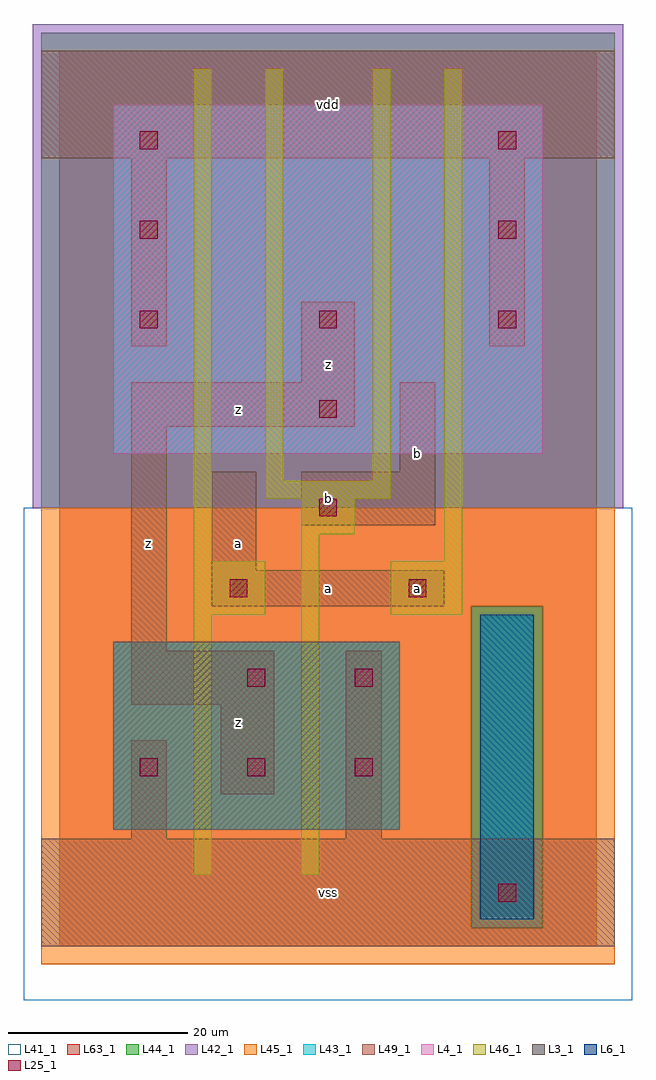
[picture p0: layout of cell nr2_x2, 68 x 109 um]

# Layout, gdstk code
import gdstk
lib = gdstk.Library(unit=1e-6, precision=1e-09)
def R(c, l, rs):  # rectangles x0, y0, x1, y1
    for r in rs: c.add(gdstk.rectangle(r[:2], r[2:], *l))
def A(c, l, x, y, w, h, nx, ny, dx, dy):  # array of equal rectangles
    R(c, l, [(x+i*dx, y+j*dy, x+i*dx+w, y+j*dy+h) for i in range(nx) for j in range(ny)])
L3_1 = (3, 1)
L4_1 = (4, 1)
L6_1 = (6, 1)
L25_1 = (25, 1)
L41_1 = (41, 1)
L42_1 = (42, 1)
L43_1 = (43, 1)
L44_1 = (44, 1)
L45_1 = (45, 1)
L46_1 = (46, 1)
L49_1 = (49, 1)
L63_1 = (63, 1)

nr2_x2 = lib.new_cell('nr2_x2')
R(nr2_x2, L3_1, [(6,13,38,34)])
R(nr2_x2, L4_1, [(6,55,54,94)])
R(nr2_x2, L6_1, [(47,3,53,37)])
A(nr2_x2, L25_1, 9, 19, 2, 2, 3, 1, 12, 0)
A(nr2_x2, L25_1, 9, 69, 2, 2, 3, 1, 20, 0)
R(nr2_x2, L25_1, [(49,5,51,7), (21,29,23,31), (33,29,35,31), (19,39,21,41), (39,39,41,41), (29,48,31,50), (29,59,31,61), (9,79,11,81), (49,79,51,81), (9,89,11,91), (49,89,51,91)])
R(nr2_x2, L41_1, [(-4,-6,64,49), (-3,-3,63,49)])
R(nr2_x2, L42_1, [(-3,49,63,103)])
R(nr2_x2, L43_1, [(47,3,53,37), (6,13,38,34), (6,55,54,94)])
R(nr2_x2, L44_1, [(46,2,54,38), (-2,49,62,102)])
R(nr2_x2, L45_1, [(-2,-2,62,2), (-2,2,46,38), (54,2,62,38), (-2,38,62,49)])
R(nr2_x2, L46_1, [(15,8,17,37), (27,8,29,46), (15,37,23,43), (37,37,45,43), (15,43,17,98), (43,43,45,98), (27,46,33,50), (23,50,37,52), (23,52,25,98), (35,52,37,98)])
R(nr2_x2, L49_1, [(-2,0,62,12), (8,12,12,23), (32,12,36,33), (18,17,24,27), (8,27,24,33), (8,33,12,58), (17,38,43,42), (17,42,22,53), (27,47,42,53), (38,53,42,63), (8,58,33,63), (27,63,33,72), (8,67,12,88), (48,67,52,88), (-2,88,62,100)])
R(nr2_x2, L63_1, [(0,0,60,100)])
nr2_x2.add(gdstk.Label('z', (10,45), layer=49, texttype=1))
nr2_x2.add(gdstk.Label('z', (10,45), layer=49, texttype=1))
nr2_x2.add(gdstk.Label('z', (20,25), layer=49, texttype=1))
nr2_x2.add(gdstk.Label('z', (20,25), layer=49, texttype=1))
nr2_x2.add(gdstk.Label('a', (20,45), layer=49, texttype=1))
nr2_x2.add(gdstk.Label('a', (20,45), layer=49, texttype=1))
nr2_x2.add(gdstk.Label('z', (20,60), layer=49, texttype=1))
nr2_x2.add(gdstk.Label('z', (20,60), layer=49, texttype=1))
nr2_x2.add(gdstk.Label('vss', (30,6), layer=49, texttype=1))
nr2_x2.add(gdstk.Label('vss', (30,6), layer=49, texttype=1))
nr2_x2.add(gdstk.Label('a', (30,40), layer=49, texttype=1))
nr2_x2.add(gdstk.Label('a', (30,40), layer=49, texttype=1))
nr2_x2.add(gdstk.Label('a', (40,40), layer=49, texttype=1))
nr2_x2.add(gdstk.Label('a', (40,40), layer=49, texttype=1))
nr2_x2.add(gdstk.Label('b', (30,50), layer=49, texttype=1))
nr2_x2.add(gdstk.Label('b', (30,50), layer=49, texttype=1))
nr2_x2.add(gdstk.Label('z', (30,65), layer=49, texttype=1))
nr2_x2.add(gdstk.Label('z', (30,65), layer=49, texttype=1))
nr2_x2.add(gdstk.Label('b', (40,55), layer=49, texttype=1))
nr2_x2.add(gdstk.Label('b', (40,55), layer=49, texttype=1))
nr2_x2.add(gdstk.Label('vdd', (30,94), layer=49, texttype=1))
nr2_x2.add(gdstk.Label('vdd', (30,94), layer=49, texttype=1))

lib.write_gds('nr2_x2.gds')
